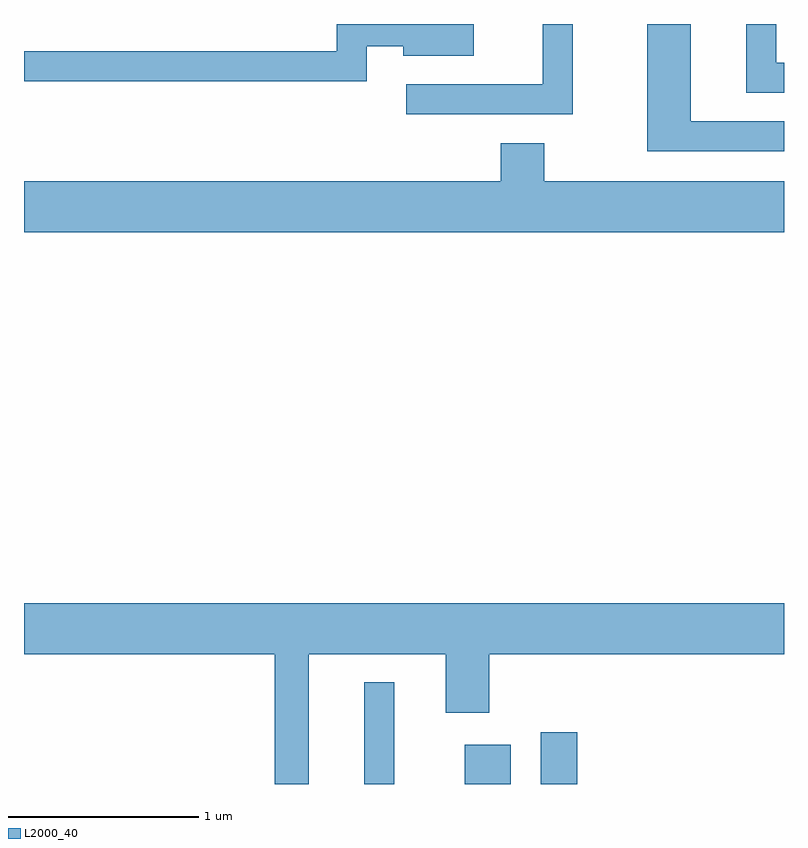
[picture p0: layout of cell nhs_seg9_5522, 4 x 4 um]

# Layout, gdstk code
import gdstk
lib = gdstk.Library(unit=1e-6, precision=1e-09)
def R(c, l, rs):  # rectangles x0, y0, x1, y1
    for r in rs: c.add(gdstk.rectangle(r[:2], r[2:], *l))
def P(c, l, *ps):  # polygons
    for p in ps: c.add(gdstk.Polygon(p, *l))
L2000_40 = (2000, 40)

nhs_seg9_5522 = lib.new_cell('nhs_seg9_5522')
R(nhs_seg9_5522, L2000_40, [(349.401,2024.432,349.559,2024.968), (349.931,2024.432,350.174,2024.639), (350.331,2024.432,350.524,2024.704)])
P(nhs_seg9_5522, L2000_40, [(349.414,2028.316),(349.606,2028.316),(349.606,2028.266),(349.979,2028.266),(349.979,2028.432),(349.256,2028.432),(349.256,2028.289),(347.611,2028.289),(347.611,2028.131),(349.414,2028.131)],
  [(351.611,2027.919),(351.119,2027.919),(351.119,2028.432),(350.891,2028.432),(350.891,2027.761),(351.611,2027.761)],
  [(350.499,2028.432),(350.341,2028.432),(350.341,2028.114),(349.623,2028.114),(349.623,2027.956),(350.499,2027.956)],
  [(351.611,2028.229),(351.569,2028.229),(351.569,2028.432),(351.411,2028.432),(351.411,2028.071),(351.611,2028.071)],
  [(351.611,2027.604),(350.349,2027.604),(350.349,2027.804),(350.121,2027.804),(350.121,2027.604),(347.611,2027.604),(347.611,2027.336),(351.611,2027.336)],
  [(349.109,2025.116),(349.831,2025.116),(349.831,2024.806),(350.059,2024.806),(350.059,2025.116),(351.611,2025.116),(351.611,2025.384),(347.611,2025.384),(347.611,2025.116),(348.931,2025.116),(348.931,2024.432),(349.109,2024.432)])

lib.write_gds('nhs_seg9_5522.gds')
